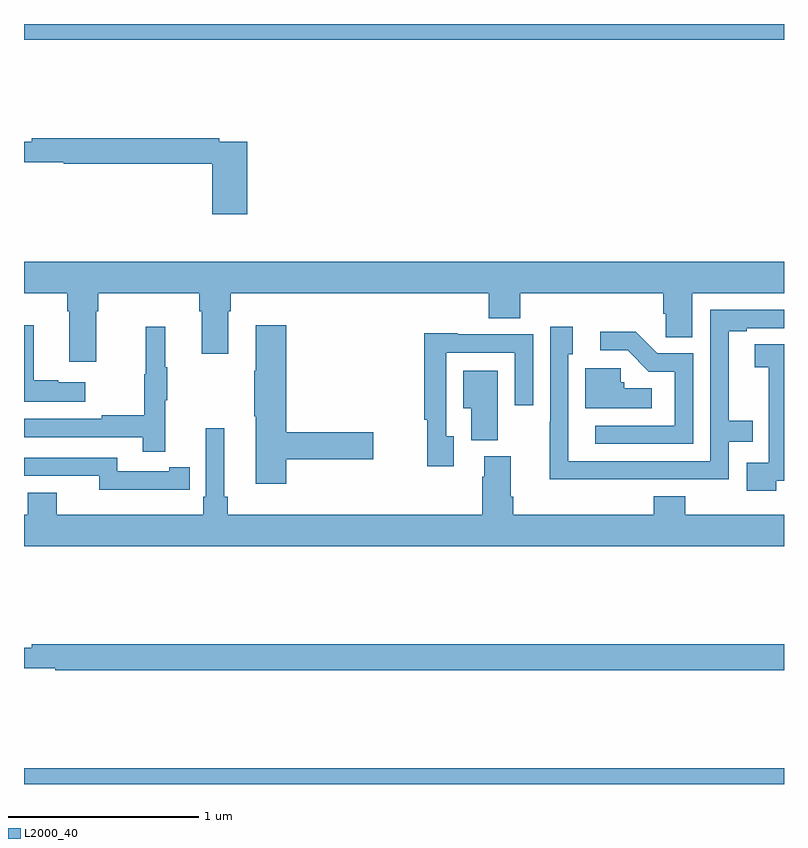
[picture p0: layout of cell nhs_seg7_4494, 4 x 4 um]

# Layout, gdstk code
import gdstk
lib = gdstk.Library(unit=1e-6, precision=1e-09)
def R(c, l, rs):  # rectangles x0, y0, x1, y1
    for r in rs: c.add(gdstk.rectangle(r[:2], r[2:], *l))
def P(c, l, *ps):  # polygons
    for p in ps: c.add(gdstk.Polygon(p, *l))
L2000_40 = (2000, 40)

nhs_seg7_4494 = lib.new_cell('nhs_seg7_4494')
R(nhs_seg7_4494, L2000_40, [(393,1030,397,1030.084), (393,1033.916,397,1034)])
P(nhs_seg7_4494, L2000_40, [(394.175,1033.38),(394.028,1033.38),(394.028,1033.4),(393.04,1033.4),(393.04,1033.381),(393,1033.381),(393,1033.272),(393.208,1033.272),(393.208,1033.264),(393.992,1033.264),(393.992,1032.999),(394.175,1032.999)],
  [(393.379,1032.488),(393.392,1032.488),(393.392,1032.584),(393.923,1032.584),(393.923,1032.488),(393.935,1032.488),(393.935,1032.264),(394.075,1032.264),(394.075,1032.488),(394.088,1032.488),(394.088,1032.584),(395.447,1032.584),(395.447,1032.451),(395.612,1032.451),(395.612,1032.584),(396.365,1032.584),(396.365,1032.475),(396.378,1032.475),(396.378,1032.352),(396.517,1032.352),(396.517,1032.584),(397,1032.584),(397,1032.748),(393,1032.748),(393,1032.584),(393.227,1032.584),(393.227,1032.488),(393.239,1032.488),(393.239,1032.222),(393.379,1032.222)],
  [(396.23,1031.604),(396.708,1031.604),(396.708,1031.802),(396.836,1031.802),(396.836,1031.911),(396.709,1031.911),(396.709,1032.384),(396.805,1032.384),(396.805,1032.399),(397,1032.399),(397,1032.495),(396.612,1032.495),(396.612,1031.7),(395.865,1031.7),(395.865,1032.261),(395.887,1032.261),(395.887,1032.406),(395.769,1032.406),(395.769,1031.906),(395.768,1031.906),(395.768,1031.603),(396.23,1031.603)],
  [(393.322,1032.115),(393.179,1032.115),(393.179,1032.125),(393.052,1032.125),(393.052,1032.415),(393,1032.415),(393,1032.011),(393.322,1032.011)],
  [(394.379,1031.71),(394.837,1031.71),(394.837,1031.852),(394.379,1031.852),(394.379,1032.415),(394.22,1032.415),(394.22,1032.176),(394.213,1032.176),(394.213,1031.935),(394.22,1031.935),(394.22,1031.58),(394.379,1031.58)],
  [(393.743,1032.019),(393.754,1032.019),(393.754,1032.193),(393.743,1032.193),(393.743,1032.406),(393.64,1032.406),(393.64,1032.156),(393.633,1032.156),(393.633,1031.942),(393.409,1031.942),(393.409,1031.922),(393,1031.922),(393,1031.826),(393.625,1031.826),(393.625,1031.748),(393.743,1031.748)],
  [(396.522,1032.267),(396.333,1032.267),(396.22,1032.38),(396.033,1032.38),(396.033,1032.282),(396.177,1032.282),(396.288,1032.171),(396.426,1032.171),(396.426,1031.886),(396.006,1031.886),(396.006,1031.79),(396.522,1031.79)],
  [(395.263,1031.829),(395.223,1031.829),(395.223,1032.27),(395.583,1032.27),(395.583,1031.994),(395.679,1031.994),(395.679,1032.366),(395.283,1032.366),(395.283,1032.373),(395.107,1032.373),(395.107,1031.917),(395.122,1031.917),(395.122,1031.673),(395.263,1031.673)],
  [(396.96,1031.595),(397,1031.595),(397,1032.314),(396.846,1032.314),(396.846,1032.193),(396.92,1032.193),(396.92,1031.995),(396.921,1031.995),(396.921,1031.691),(396.804,1031.691),(396.804,1031.544),(396.96,1031.544)],
  [(396.304,1032.082),(396.16,1032.082),(396.16,1032.114),(396.141,1032.114),(396.141,1032.189),(395.954,1032.189),(395.954,1031.978),(396.304,1031.978)],
  [(395.494,1032.175),(395.312,1032.175),(395.312,1031.978),(395.354,1031.978),(395.354,1031.809),(395.494,1031.809)],
  [(397,1031.416),(396.479,1031.416),(396.479,1031.515),(396.314,1031.515),(396.314,1031.416),(395.576,1031.416),(395.576,1031.512),(395.563,1031.512),(395.563,1031.724),(395.423,1031.724),(395.423,1031.618),(395.411,1031.618),(395.411,1031.416),(394.073,1031.416),(394.073,1031.512),(394.054,1031.512),(394.054,1031.872),(393.957,1031.872),(393.957,1031.512),(393.944,1031.512),(393.944,1031.416),(393.172,1031.416),(393.172,1031.533),(393.02,1031.533),(393.02,1031.416),(393,1031.416),(393,1031.252),(397,1031.252)],
  [(393.764,1031.55),(393.872,1031.55),(393.872,1031.666),(393.764,1031.666),(393.764,1031.646),(393.492,1031.646),(393.492,1031.718),(393,1031.718),(393,1031.622),(393.396,1031.622),(393.396,1031.549),(393.764,1031.549)],
  [(397,1030.736),(393.04,1030.736),(393.04,1030.717),(393,1030.717),(393,1030.608),(393.164,1030.608),(393.164,1030.6),(397,1030.6)])

lib.write_gds('nhs_seg7_4494.gds')
